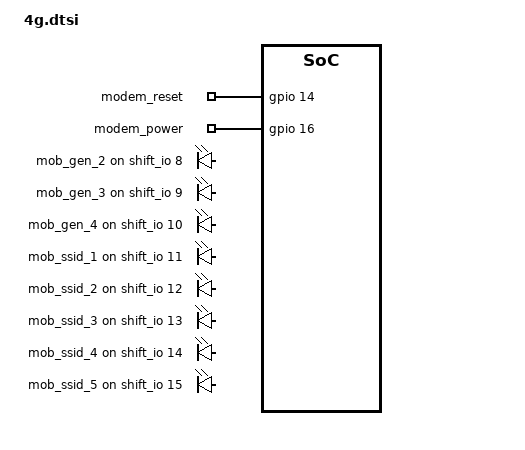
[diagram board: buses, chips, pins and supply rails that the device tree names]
/ {
    gpio-export {
		compatible = "gpio-export";
		#size-cells = <0>;

		gpio_modem_reset {
			gpio-export,name = "modem_reset";
			gpio-export,output = <0>;
			gpios = <&gpio 14 GPIO_ACTIVE_HIGH>;
		};

		gpio_modem_power {
			gpio-export,name = "modem_power";
			gpio-export,output = <1>;
			gpios = <&gpio 16 GPIO_ACTIVE_HIGH>;
		};
	};

    leds {
        led_gen_2 {
			label = "mob_gen_2";
			gpios = <&shift_io 8 GPIO_ACTIVE_HIGH>;
		};

		led_gen_3 {
			label = "mob_gen_3";
			gpios = <&shift_io 9 GPIO_ACTIVE_HIGH>;
		};

		led_gen_4 {
			label = "mob_gen_4";
			gpios = <&shift_io 10 GPIO_ACTIVE_HIGH>;
		};

        led_ssid_1 {
			label = "mob_ssid_1";
			gpios = <&shift_io 11 GPIO_ACTIVE_HIGH>;
			linux,default-trigger = "timer";
		};

		led_ssid_2 {
			label = "mob_ssid_2";
			gpios = <&shift_io 12 GPIO_ACTIVE_HIGH>;
			linux,default-trigger = "timer";
		};

		led_ssid_3 {
			label = "mob_ssid_3";
			gpios = <&shift_io 13 GPIO_ACTIVE_HIGH>;
			linux,default-trigger = "timer";
		};

		led_ssid_4 {
			label = "mob_ssid_4";
			gpios = <&shift_io 14 GPIO_ACTIVE_HIGH>;
			linux,default-trigger = "timer";
		};

		led_ssid_5 {
			label = "mob_ssid_5";
			gpios = <&shift_io 15 GPIO_ACTIVE_HIGH>;
			linux,default-trigger = "timer";
		};
    };

    tlt_gpios {
		misc {
			GPIO_14 {
				line_name = "GPIO_MODEM_RESET_1";
			};
			GPIO_16 {
				line_name = "GPIO_MODEM_POWER_1";
			};
		};
	};
};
